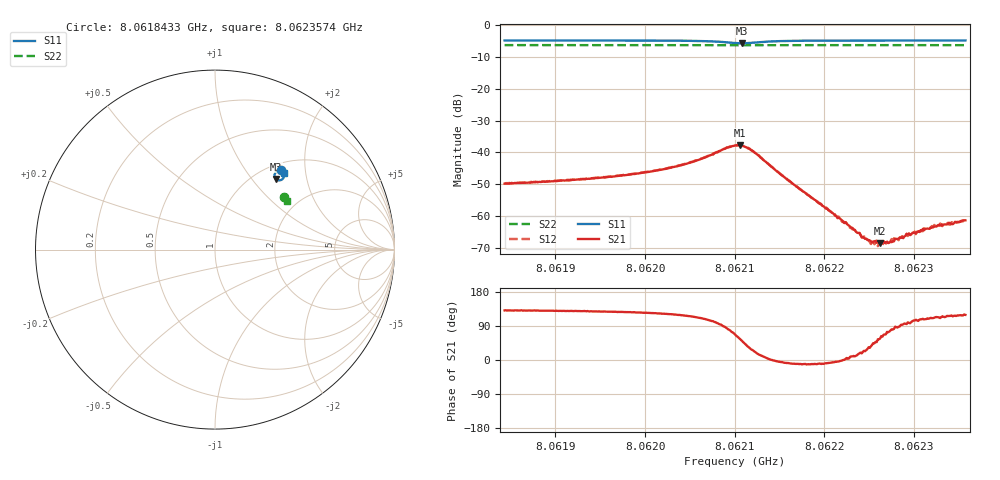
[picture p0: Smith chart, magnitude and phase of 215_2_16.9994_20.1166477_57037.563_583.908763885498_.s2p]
#  HZ  S  RI  R  50.00
! Rohde & Schwarz Vector Network Analyzer
! Rohde-Schwarz,ZNB20-2Port,1311601062101988,3.16
! Created: UTC 3/20/2024, 11:01:44 PM
! freq[Hz]  re:S11  im:S11  re:S21  im:S21  re:S12  im:S12  re:S22  im:S22
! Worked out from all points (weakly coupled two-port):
!   401 points, 8.0618433 GHz to 8.0623574 GHz, reference 50 ohm
!   highest |S21| = -37.80 dB at 8.0621055 GHz (marker M1); lowest = -68.7 dB at 8.0622623 GHz (marker M2)
!   lowest |S11| = -5.7 dB at 8.062108 GHz (marker M3), VSWR 3.16, Z = 61.9 + j66.6 ohm
!   |S11| at or under -10 dB: nowhere
!   |S22| runs from -6.3 to -6.3 dB; largest |S21 - S12| = 0.00098
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8.06184326e9  0.3665 0.4441  -0.00209 0.00243  -0.00198 0.00255  0.3871 0.2952
8.06192937e9  0.3729 0.4382  -0.00236 0.00294  -0.00222 0.00308  0.3901 0.2909
8.06198335e9  0.3777 0.4329  -0.00265 0.00359  -0.00243 0.00381  0.3919 0.2882
8.06201548e9  0.3811 0.428  -0.00284 0.00441  -0.0026 0.00463  0.3931 0.2863
8.06205275e9  0.3848 0.4174  -0.00294 0.00641  -0.00255 0.00663  0.3941 0.2841
8.06210031e9  0.3555 0.3861  0.00489 0.0119  0.00569 0.0115  0.3939 0.281
8.06210545e9  0.3451 0.3895  0.00718 0.0107  0.00788 0.0103  0.3937 0.2812
8.06210802e9  0.3404 0.3928  0.00802 0.00978  0.00878 0.00933  0.3937 0.2813
8.06211445e9  0.3329 0.4042  0.0094 0.00679  0.0101 0.00629  0.3938 0.2815
8.06212344e9  0.3328 0.4208  0.00907 0.00334  0.00931 0.00264  0.3943 0.2818
8.06215043e9  0.3518 0.4387  0.00457 -0.000385  0.0046 -0.000674  0.3963 0.281
8.06218642e9  0.3661 0.4387  0.00188 -0.000357  0.00183 -0.000485  0.398 0.2792
8.06222626e9  0.3738 0.4358  0.00072 4.2e-05  0.000686 -8.6e-07  0.3996 0.277
8.06224297e9  0.376 0.4345  0.000434 0.000171  0.000426 0.000165  0.4002 0.2763
8.06224683e9  0.3764 0.4343  0.000393 0.000194  0.000432 0.000201  0.4003 0.2759
8.06225068e9  0.377 0.434  0.000347 0.000219  0.000326 0.000211  0.4003 0.2757
8.06226225e9  0.378 0.4333  0.000201 0.000308  0.000224 0.000329  0.4009 0.2752
8.06227253e9  0.3792 0.4326  9.68e-05 0.000364  0.000127 0.000357  0.4012 0.2748
8.06228281e9  0.3803 0.4318  1.68e-05 0.000437  2.37e-05 0.000413  0.4014 0.274
8.06229181e9  0.3811 0.4312  -4.39e-05 0.00052  -5.82e-05 0.000518  0.4017 0.2737
8.06232137e9  0.3834 0.4295  -0.000233 0.000619  -0.000196 0.00064  0.4028 0.2723
8.06235736e9  0.3863 0.4274  -0.000413 0.000742  -0.000353 0.000772  0.4039 0.2703
